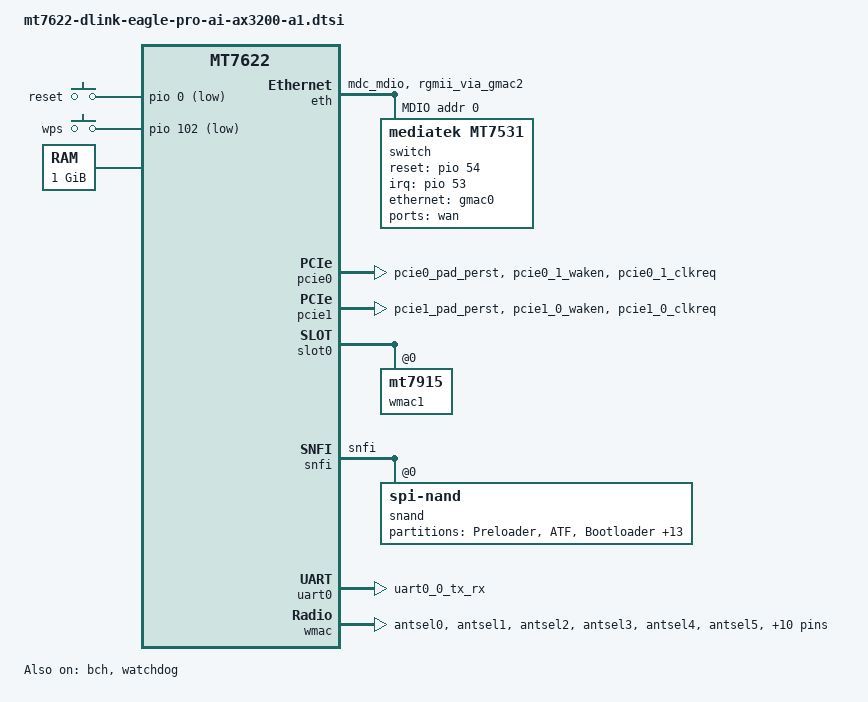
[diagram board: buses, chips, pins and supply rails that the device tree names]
// SPDX-License-Identifier: GPL-2.0-or-later OR MIT

/dts-v1/;
#include "mt7622.dtsi"
#include "mt6380.dtsi"
#include <dt-bindings/gpio/gpio.h>
#include <dt-bindings/input/input.h>

/ {
	aliases {
		serial0 = &uart0;
		label-mac-device = &gmac0;
	};

	chosen {
		stdout-path = "serial0:115200n8";
		bootargs = "earlycon=uart8250,mmio32,0x11002000 console=ttyS0,115200n8 swiotlb=512";
	};

	cpus {
		cpu@0 {
			proc-supply = <&mt6380_vcpu_reg>;
			sram-supply = <&mt6380_vm_reg>;
		};

		cpu@1 {
			proc-supply = <&mt6380_vcpu_reg>;
			sram-supply = <&mt6380_vm_reg>;
		};
	};

	gpio-keys {
		compatible = "gpio-keys";

		button-reset {
			gpios = <&pio 0 GPIO_ACTIVE_LOW>;
			label = "reset";
			linux,code = <KEY_RESTART>;
		};

		button-wps {
			gpios = <&pio 102 GPIO_ACTIVE_LOW>;
			label = "wps";
			linux,code = <KEY_WPS_BUTTON>;
		};
	};

	memory {
		reg = <0 0x40000000 0 0x40000000>;
	};
};

&bch {
	status = "okay";
};

&eth {
	pinctrl-names = "default";
	pinctrl-0 = <&eth_pins>;
	status = "okay";

	gmac0: mac@0 {
		compatible = "mediatek,eth-mac";
		phy-mode = "2500base-x";
		reg = <0>;
		nvmem-cells = <&macaddr_odm 1>;
		nvmem-cell-names = "mac-address";
		fixed-link {
			full-duplex;
			pause;
			speed = <2500>;
		};
	};

	mdio-bus {
		#address-cells = <1>;
		#size-cells = <0>;

		switch: switch@0 {
			compatible = "mediatek,mt7531";
			reg = <0>;
			interrupt-controller;
			#interrupt-cells = <1>;
			interrupt-parent = <&pio>;
			interrupts = <53 IRQ_TYPE_LEVEL_HIGH>;
			reset-gpios = <&pio 54 0>;

			ports {
				wan: port@4 {
					reg = <4>;
					label = "wan";
					nvmem-cells = <&macaddr_odm 0>;
					nvmem-cell-names = "mac-address";
				};

				port@6 {
					reg = <6>;
					ethernet = <&gmac0>;
					phy-mode = "2500base-x";

					fixed-link {
						speed = <2500>;
						full-duplex;
						pause;
					};
				};
			};
		};
	};
};

&pcie0 {
	pinctrl-names = "default";
	pinctrl-0 = <&pcie0_pins>;
	status = "okay";
};

&pcie1 {
	pinctrl-names = "default";
	pinctrl-0 = <&pcie1_pins>;
	status = "okay";
};

&pio {
	epa_elna_pins: epa-elna-pins {
		mux {
			function = "antsel";
			groups = "antsel0", "antsel1", "antsel2", "antsel3",
				"antsel4", "antsel5", "antsel6", "antsel7",
				"antsel8", "antsel9", "antsel12", "antsel13",
				"antsel14", "antsel15", "antsel16", "antsel17";
		};
	};

	eth_pins: eth-pins {
		mux {
			function = "eth";
			groups = "mdc_mdio", "rgmii_via_gmac2";
		};
	};

	pcie0_pins: pcie0-pins {
		mux {
			function = "pcie";
			groups = "pcie0_pad_perst",
				 "pcie0_1_waken",
				 "pcie0_1_clkreq";
		};
	};

	pcie1_pins: pcie1-pins {
		mux {
			function = "pcie";
			groups = "pcie1_pad_perst",
				 "pcie1_0_waken",
				 "pcie1_0_clkreq";
		};
	};

	pmic_bus_pins: pmic-bus-pins {
		mux {
			function = "pmic";
			groups = "pmic_bus";
		};
	};

	/* Serial NAND is shared pin with SPI-NOR */
	serial_nand_pins: serial-nand-pins {
		mux {
			function = "flash";
			groups = "snfi";
		};
	};

	uart0_pins: uart0-pins {
		mux {
			function = "uart";
			groups = "uart0_0_tx_rx";
		};
	};

	watchdog_pins: watchdog-pins {
		mux {
			function = "watchdog";
			groups = "watchdog";
		};
	};
};

&pwrap {
	pinctrl-names = "default";
	pinctrl-0 = <&pmic_bus_pins>;
	status = "okay";
};

&rtc {
	status = "disabled";
};

&sata {
	status = "disabled";
};

&sata_phy {
	status = "disabled";
};

&slot0 {
	wmac1: mt7915@0,0 {
		reg = <0x0000 0 0 0 0>;
		ieee80211-freq-limit = <5000000 6000000>;
		mediatek,mtd-eeprom = <&factory 0x05000>;
		nvmem-cells = <&macaddr_odm 3>;
		nvmem-cell-names = "mac-address";
	};
};

&snfi {
	pinctrl-names = "default";
	pinctrl-0 = <&serial_nand_pins>;
	status = "okay";

	snand: flash@0 {
		compatible = "spi-nand";
		mediatek,bmt-table-size = <0x1000>;
		mediatek,bmt-v2;
		nand-ecc-engine = <&snfi>;
		reg = <0>;
		spi-rx-bus-width = <4>;
		spi-tx-bus-width = <4>;

		partitions {
			compatible = "fixed-partitions";
			#address-cells = <1>;
			#size-cells = <1>;

			partition@0 {
				label = "Preloader";
				reg = <0x00000000 0x00080000>;
				read-only;
			};

			partition@80000 {
				label = "ATF";
				reg = <0x00080000 0x00040000>;
				read-only;
			};

			partition@C0000 {
				label = "Bootloader";
				reg = <0x000C0000 0x00080000>;
				read-only;
			};

			partition@140000 {
				label = "BootConfig";
				reg = <0x00140000 0x00040000>;
			};

			partition@180000 {
				label = "Odm";
				reg = <0x00180000 0x00040000>;
				read-only;
				odm_partition: nvmem-layout {
					compatible = "fixed-layout";
				};
			};

			config1: partition@1C0000 {
				compatible = "nvmem-cells";
				label = "Config1";
				reg = <0x001C0000 0x00080000>;
				read-only;
			};

			partition@240000 {
				label = "Config2";
				reg = <0x00240000 0x00080000>;
				read-only;
			};

			partition@2C0000 {
				label = "Kernel1";
				reg = <0x002C0000 0x02D00000>;

				compatible = "denx,fit";
				openwrt,cmdline-match = "boot_part=Kernel1";
				partition@0 {
					label = "kernel";
					reg = <0x00000000 0x00800000>;
				};

				partition@800000 {
					label = "ubi";
					reg = <0x00800000 0x02500000>;
				};
			};

			partition@2FC0000 {
				label = "Kernel2";
				reg = <0x02FC0000 0x02D00000>;

				compatible = "denx,fit";
				openwrt,cmdline-match = "boot_part=Kernel2";
				partition@0 {
					label = "kernel";
					reg = <0x00000000 0x00800000>;
				};

				partition@800000 {
					label = "ubi";
					reg = <0x00800000 0x02500000>;
				};
			};

			factory: partition@5CC0000 {
				label = "Factory";
				reg = <0x05CC0000 0x00100000>;
				read-only;
			};

			partition@5DC0000 {
				label = "Mydlink";
				reg = <0x05DC0000 0x00200000>;
				read-only;
			};

			partition@5FC0000 {
				label = "Storage";
				reg = <0x05FC0000 0x00300000>;
				read-only;
			};
		};
	};
};

&ssusb {
	status = "disabled";
};

&u3phy {
	status = "disabled";
};

&uart0 {
	pinctrl-names = "default";
	pinctrl-0 = <&uart0_pins>;
	status = "okay";
};

&watchdog {
	pinctrl-names = "default";
	pinctrl-0 = <&watchdog_pins>;
	status = "okay";
};

&wmac {
	pinctrl-names = "default";
	pinctrl-0 = <&epa_elna_pins>;
	mediatek,mtd-eeprom = <&factory 0x0000>;
	nvmem-cells = <&macaddr_odm 2>;
	nvmem-cell-names = "mac-address";
	status = "okay";
};

